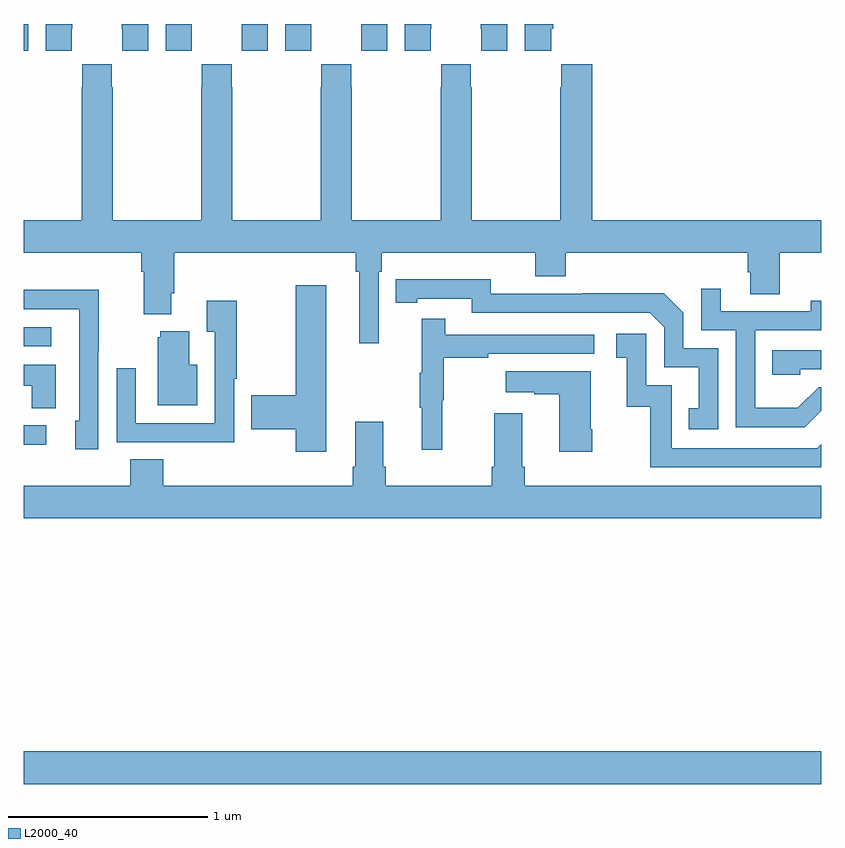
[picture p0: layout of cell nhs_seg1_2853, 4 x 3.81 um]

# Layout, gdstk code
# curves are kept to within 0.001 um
import gdstk
lib = gdstk.Library(unit=1e-6, precision=1e-09)
def R(c, l, rs):  # rectangles x0, y0, x1, y1
    for r in rs: c.add(gdstk.rectangle(r[:2], r[2:], *l))
def P(c, l, *ps):  # polygons
    for p in ps: c.add(gdstk.Polygon(p, *l))
L2000_40 = (2000, 40)

nhs_seg1_2853 = lib.new_cell('nhs_seg1_2853')
R(nhs_seg1_2853, L2000_40, [(265,562.388,269,562.552), (265,564.089,265.114,564.186), (265,564.582,265.138,564.678), (265,566.064,265.024,566.199)])
P(nhs_seg1_2853, L2000_40, [(265.242,566.176),(265.243,566.176),(265.243,566.199),(265.112,566.199),(265.112,566.064),(265.242,566.064)],
  [(265.624,566.199),(265.493,566.199),(265.493,566.176),(265.494,566.176),(265.494,566.064),(265.624,566.064)],
  [(265.842,566.176),(265.843,566.176),(265.843,566.199),(265.712,566.199),(265.712,566.064),(265.842,566.064)],
  [(266.224,566.199),(266.093,566.199),(266.093,566.176),(266.094,566.176),(266.094,566.064),(266.224,566.064)],
  [(266.442,566.176),(266.443,566.176),(266.443,566.199),(266.312,566.199),(266.312,566.064),(266.442,566.064)],
  [(266.824,566.199),(266.693,566.199),(266.693,566.176),(266.694,566.176),(266.694,566.064),(266.824,566.064)],
  [(267.042,566.176),(267.043,566.176),(267.043,566.199),(266.912,566.199),(266.912,566.064),(267.042,566.064)],
  [(267.424,566.199),(267.293,566.199),(267.293,566.176),(267.294,566.176),(267.294,566.064),(267.424,566.064)],
  [(267.646,566.176),(267.656,566.176),(267.656,566.199),(267.512,566.199),(267.512,566.064),(267.646,566.064)],
  [(266.781,564.956),(266.795,564.956),(266.795,565.052),(267.566,565.052),(267.566,564.935),(267.719,564.935),(267.719,565.052),(268.631,565.052),(268.631,564.954),(268.643,564.954),(268.643,564.844),(268.791,564.844),(268.791,565.052),(269,565.052),(269,565.216),(267.851,565.216),(267.851,565.996),(267.697,565.996),(267.697,565.883),(267.691,565.883),(267.691,565.216),(267.246,565.216),(267.246,565.883),(267.243,565.883),(267.243,565.996),(267.093,565.996),(267.093,565.883),(267.091,565.883),(267.091,565.216),(266.646,565.216),(266.646,565.883),(266.643,565.883),(266.643,565.996),(266.493,565.996),(266.493,565.883),(266.491,565.883),(266.491,565.216),(266.046,565.216),(266.046,565.883),(266.043,565.883),(266.043,565.996),(265.893,565.996),(265.893,565.883),(265.891,565.883),(265.891,565.216),(265.446,565.216),(265.446,565.883),(265.443,565.883),(265.443,565.996),(265.293,565.996),(265.293,565.883),(265.291,565.883),(265.291,565.216),(265,565.216),(265,565.052),(265.589,565.052),(265.589,564.956),(265.601,564.956),(265.601,564.743),(265.741,564.743),(265.741,564.85),(265.754,564.85),(265.754,565.052),(266.665,565.052),(266.665,564.956),(266.684,564.956),(266.684,564.597),(266.781,564.597)],
  [(268.482,564.573),(268.308,564.573),(268.308,564.75),(268.21,564.848),(267.802,564.848),(267.802,564.846),(267.342,564.846),(267.342,564.919),(266.866,564.918),(266.866,564.802),(266.974,564.802),(266.974,564.822),(267.246,564.822),(267.246,564.75),(268.14,564.75),(268.212,564.678),(268.212,564.477),(268.385,564.477),(268.385,564.273),(268.336,564.273),(268.336,564.168),(268.482,564.168)],
  [(266.518,564.889),(266.365,564.889),(266.365,564.338),(266.142,564.338),(266.142,564.167),(266.365,564.167),(266.365,564.054),(266.518,564.054)],
  [(269,564.259),(269,564.378),(268.986,564.378),(268.882,564.274),(268.668,564.274),(268.668,564.663),(269,564.663),(269,564.811),(268.946,564.811),(268.946,564.759),(268.495,564.759),(268.495,564.871),(268.398,564.871),(268.398,564.663),(268.572,564.663),(268.572,564.177),(268.918,564.177)],
  [(265.374,564.559),(265.377,564.559),(265.377,564.866),(265,564.866),(265,564.768),(265.278,564.768),(265.278,564.21),(265.259,564.21),(265.259,564.066),(265.374,564.066)],
  [(266.055,564.421),(266.068,564.421),(266.068,564.811),(265.919,564.811),(265.919,564.655),(265.959,564.655),(265.959,564.198),(265.563,564.198),(265.563,564.472),(265.467,564.472),(265.467,564.102),(265.783,564.102),(265.783,564.101),(266.055,564.101)],
  [(267.098,564.312),(267.106,564.312),(267.106,564.526),(267.329,564.526),(267.329,564.546),(267.862,564.546),(267.862,564.642),(267.113,564.642),(267.113,564.721),(266.996,564.721),(266.996,564.449),(266.985,564.449),(266.985,564.275),(266.996,564.275),(266.996,564.063),(267.098,564.063)],
  [(265.87,564.49),(265.831,564.49),(265.831,564.658),(265.685,564.658),(265.685,564.627),(265.673,564.627),(265.673,564.287),(265.87,564.287)],
  [(269,564.092),(268.98,564.072),(268.251,564.072),(268.251,564.387),(268.122,564.387),(268.122,564.646),(267.972,564.646),(267.972,564.525),(268.025,564.525),(268.025,564.279),(268.143,564.279),(268.143,563.976),(269,563.976)],
  [(268.893,564.468),(269,564.468),(269,564.564),(268.753,564.564),(268.753,564.441),(268.893,564.441)],
  [(265.162,564.49),(265,564.49),(265,564.386),(265.041,564.386),(265.041,564.271),(265.162,564.271)],
  [(267.852,564.166),(267.844,564.166),(267.844,564.457),(267.417,564.457),(267.417,564.353),(267.56,564.353),(267.56,564.343),(267.686,564.343),(267.686,564.054),(267.852,564.054)],
  [(269,563.884),(267.512,563.884),(267.512,563.98),(267.499,563.98),(267.499,564.247),(267.359,564.247),(267.359,563.98),(267.347,563.98),(267.347,563.884),(266.816,563.884),(266.816,563.98),(266.803,563.98),(266.803,564.205),(266.663,564.205),(266.663,563.98),(266.651,563.98),(266.651,563.884),(265.7,563.884),(265.7,564.017),(265.535,564.017),(265.535,563.884),(265,563.884),(265,563.72),(269,563.72)])

lib.write_gds('nhs_seg1_2853.gds')
